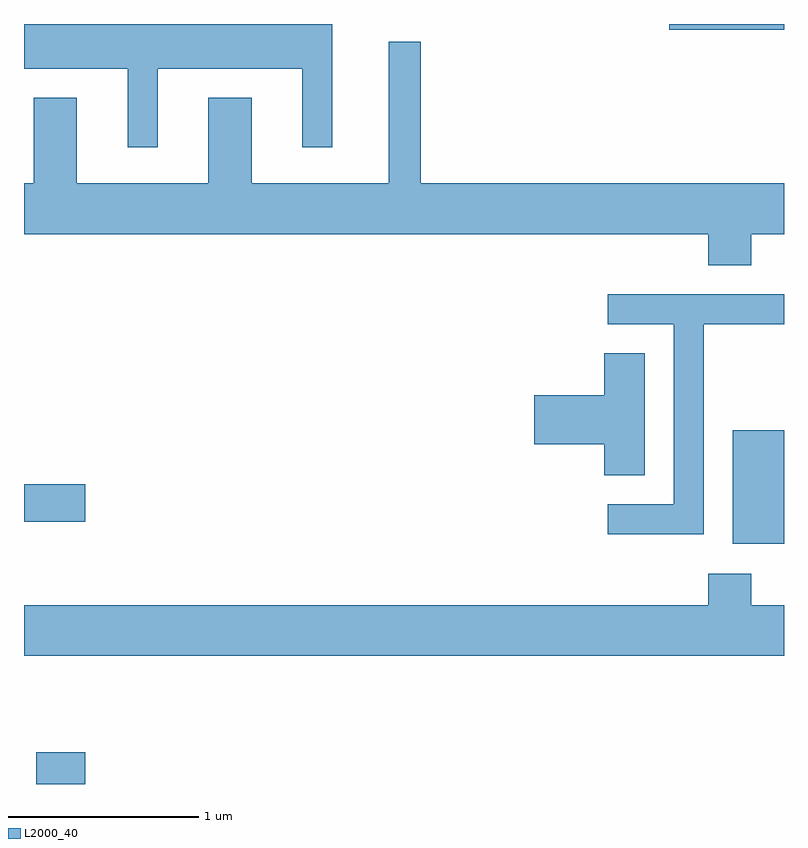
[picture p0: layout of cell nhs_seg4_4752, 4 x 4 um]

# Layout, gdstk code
import gdstk
lib = gdstk.Library(unit=1e-6, precision=1e-09)
def R(c, l, rs):  # rectangles x0, y0, x1, y1
    for r in rs: c.add(gdstk.rectangle(r[:2], r[2:], *l))
def P(c, l, *ps):  # polygons
    for p in ps: c.add(gdstk.Polygon(p, *l))
L2000_40 = (2000, 40)

nhs_seg4_4752 = lib.new_cell('nhs_seg4_4752')
R(nhs_seg4_4752, L2000_40, [(323.676,1373.982,323.934,1374.149), (327.341,1375.246,327.611,1375.844), (323.611,1375.361,323.934,1375.559), (327.006,1377.951,327.611,1377.982)])
P(nhs_seg4_4752, L2000_40, [(324.314,1377.746),(325.076,1377.746),(325.076,1377.333),(325.234,1377.333),(325.234,1377.982),(323.611,1377.982),(323.611,1377.746),(324.156,1377.746),(324.156,1377.333),(324.314,1377.333)],
  [(327.439,1376.876),(327.611,1376.876),(327.611,1377.144),(325.699,1377.144),(325.699,1377.888),(325.531,1377.888),(325.531,1377.144),(324.809,1377.144),(324.809,1377.594),(324.581,1377.594),(324.581,1377.144),(323.889,1377.144),(323.889,1377.594),(323.661,1377.594),(323.661,1377.144),(323.611,1377.144),(323.611,1376.876),(327.211,1376.876),(327.211,1376.711),(327.439,1376.711)],
  [(327.189,1376.401),(327.611,1376.401),(327.611,1376.559),(326.683,1376.559),(326.683,1376.401),(327.031,1376.401),(327.031,1375.454),(326.683,1375.454),(326.683,1375.296),(327.189,1375.296)],
  [(326.879,1376.249),(326.666,1376.249),(326.666,1376.029),(326.296,1376.029),(326.296,1375.771),(326.666,1375.771),(326.666,1375.606),(326.879,1375.606)],
  [(327.611,1374.924),(327.439,1374.924),(327.439,1375.089),(327.211,1375.089),(327.211,1374.924),(323.611,1374.924),(323.611,1374.656),(327.611,1374.656)])

lib.write_gds('nhs_seg4_4752.gds')
